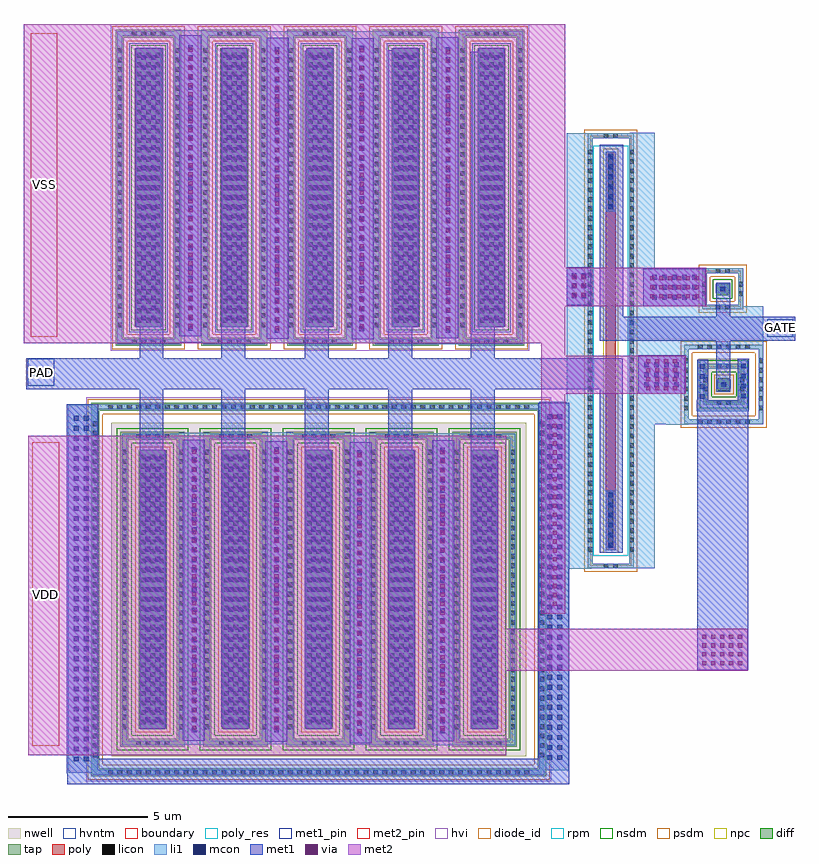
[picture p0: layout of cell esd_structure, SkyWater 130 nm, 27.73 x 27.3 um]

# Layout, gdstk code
import gdstk
lib = gdstk.Library(unit=1e-6, precision=1e-09)
def R(c, l, rs):  # rectangles x0, y0, x1, y1
    for r in rs: c.add(gdstk.rectangle(r[:2], r[2:], *l))
def A(c, l, x, y, w, h, nx, ny, dx, dy):  # array of equal rectangles
    R(c, l, [(x+i*dx, y+j*dy, x+i*dx+w, y+j*dy+h) for i in range(nx) for j in range(ny)])
nwell = (64, 20)
diff = (65, 20)
tap = (65, 44)
poly_res = (66, 13)
poly = (66, 20)
licon = (66, 44)
li1 = (67, 20)
mcon = (67, 44)
met1_pin = (68, 16)
met1 = (68, 20)
via = (68, 44)
met2_pin = (69, 16)
met2 = (69, 20)
hvi = (75, 20)
diode_id = (81, 23)
rpm = (86, 20)
nsdm = (93, 44)
psdm = (94, 20)
npc = (95, 20)
hvntm = (125, 20)
boundary = (235, 4)

sky130_fd_pr__res_high_p = lib.new_cell('sky130_fd_pr__res_high_po_0p35_JFN4DV')
R(sky130_fd_pr__res_high_p, tap, [(-0.825,-7.81,0.825,-7.64), (-0.825,-7.64,-0.655,7.64), (0.655,-7.64,0.825,7.64), (-0.825,7.64,0.825,7.81)])
R(sky130_fd_pr__res_high_p, poly_res, [(-0.175,-5.06,0.175,5.06)])
R(sky130_fd_pr__res_high_p, poly, [(-0.175,-7.16,0.175,7.16)])
A(sky130_fd_pr__res_high_p, licon, -0.825, -7.225, 0.17, 0.17, 1, 43, 0, 0.34)
A(sky130_fd_pr__res_high_p, licon, 0.655, -7.225, 0.17, 0.17, 1, 43, 0, 0.34)
R(sky130_fd_pr__res_high_p, licon, [(-0.255,-7.81,-0.085,-7.64), (0.085,-7.81,0.255,-7.64), (-0.095,-7.08,0.095,-5.08), (-0.095,5.08,0.095,7.08), (-0.255,7.64,-0.085,7.81), (0.085,7.64,0.255,7.81)])
R(sky130_fd_pr__res_high_p, li1, [(-0.825,-7.81,0.825,-7.64), (-0.825,-7.64,-0.655,7.64), (0.655,-7.64,0.825,7.64), (-0.175,-7.16,0.175,-5), (-0.175,5,0.175,7.16), (-0.825,7.64,0.825,7.81)])
A(sky130_fd_pr__res_high_p, mcon, -0.085, -7.065, 0.17, 0.17, 1, 6, 0, 0.36)
A(sky130_fd_pr__res_high_p, mcon, -0.085, 5.09, 0.17, 0.17, 1, 6, 0, 0.36)
R(sky130_fd_pr__res_high_p, met1, [(-0.125,-7.13,0.125,-5.025), (-0.125,5.025,0.125,7.13)])
R(sky130_fd_pr__res_high_p, rpm, [(-0.635,-7.36,0.635,7.36)])
R(sky130_fd_pr__res_high_p, psdm, [(-0.95,-7.935,0.95,7.935)])
R(sky130_fd_pr__res_high_p, npc, [(-0.27,-7.255,0.27,7.255)])
R(sky130_fd_pr__res_high_p, boundary, [(-0.74,-7.725,0.74,7.725)])

sky130_fd_pr__diode_pw2n = lib.new_cell('sky130_fd_pr__diode_pw2nd_11v0_2UARL4')
A(sky130_fd_pr__diode_pw2n, diff, -6.66, -5, 1, 10, 5, 1, 3.08, 0)
A(sky130_fd_pr__diode_pw2n, tap, -7.34, -5.68, 2.36, 0.29, 5, 2, 3.08, 11.07)
R(sky130_fd_pr__diode_pw2n, tap, [(-7.34,-5.39,-7.05,5.39), (-5.27,-5.39,-4.98,5.39), (-4.26,-5.39,-3.97,5.39), (-2.19,-5.39,-1.9,5.39), (-1.18,-5.39,-0.89,5.39), (0.89,-5.39,1.18,5.39), (1.9,-5.39,2.19,5.39), (3.97,-5.39,4.26,5.39), (4.98,-5.39,5.27,5.39), (7.05,-5.39,7.34,5.39)])
A(sky130_fd_pr__diode_pw2n, licon, -6.755, -5.62, 0.17, 0.17, 4, 2, 0.34, 11.07)
A(sky130_fd_pr__diode_pw2n, licon, -3.675, -5.62, 0.17, 0.17, 4, 2, 0.34, 11.07)
A(sky130_fd_pr__diode_pw2n, licon, -0.595, -5.62, 0.17, 0.17, 4, 2, 0.34, 11.07)
A(sky130_fd_pr__diode_pw2n, licon, 2.485, -5.62, 0.17, 0.17, 4, 2, 0.34, 11.07)
A(sky130_fd_pr__diode_pw2n, licon, 5.565, -5.62, 0.17, 0.17, 4, 2, 0.34, 11.07)
A(sky130_fd_pr__diode_pw2n, licon, -7.28, -5.015, 0.17, 0.17, 1, 30, 0, 0.34)
A(sky130_fd_pr__diode_pw2n, licon, -5.21, -5.015, 0.17, 0.17, 1, 30, 0, 0.34)
A(sky130_fd_pr__diode_pw2n, licon, -4.2, -5.015, 0.17, 0.17, 1, 30, 0, 0.34)
A(sky130_fd_pr__diode_pw2n, licon, -2.13, -5.015, 0.17, 0.17, 1, 30, 0, 0.34)
A(sky130_fd_pr__diode_pw2n, licon, -1.12, -5.015, 0.17, 0.17, 1, 30, 0, 0.34)
A(sky130_fd_pr__diode_pw2n, licon, 0.95, -5.015, 0.17, 0.17, 1, 30, 0, 0.34)
A(sky130_fd_pr__diode_pw2n, licon, 1.96, -5.015, 0.17, 0.17, 1, 30, 0, 0.34)
A(sky130_fd_pr__diode_pw2n, licon, 4.03, -5.015, 0.17, 0.17, 1, 30, 0, 0.34)
A(sky130_fd_pr__diode_pw2n, licon, 5.04, -5.015, 0.17, 0.17, 1, 30, 0, 0.34)
A(sky130_fd_pr__diode_pw2n, licon, 7.11, -5.015, 0.17, 0.17, 1, 30, 0, 0.34)
A(sky130_fd_pr__diode_pw2n, licon, -6.585, -4.845, 0.17, 0.17, 3, 29, 0.34, 0.34)
A(sky130_fd_pr__diode_pw2n, licon, -3.505, -4.845, 0.17, 0.17, 3, 29, 0.34, 0.34)
A(sky130_fd_pr__diode_pw2n, licon, -0.425, -4.845, 0.17, 0.17, 3, 29, 0.34, 0.34)
A(sky130_fd_pr__diode_pw2n, licon, 2.655, -4.845, 0.17, 0.17, 3, 29, 0.34, 0.34)
A(sky130_fd_pr__diode_pw2n, licon, 5.735, -4.845, 0.17, 0.17, 3, 29, 0.34, 0.34)
A(sky130_fd_pr__diode_pw2n, li1, -7.28, -5.62, 2.24, 0.17, 5, 2, 3.08, 11.07)
A(sky130_fd_pr__diode_pw2n, li1, -6.6, -5.02, 0.88, 10.04, 5, 1, 3.08, 0)
R(sky130_fd_pr__diode_pw2n, li1, [(-7.28,-5.45,-7.11,5.45), (-5.21,-5.45,-5.04,5.45), (-4.2,-5.45,-4.03,5.45), (-2.13,-5.45,-1.96,5.45), (-1.12,-5.45,-0.95,5.45), (0.95,-5.45,1.12,5.45), (1.96,-5.45,2.13,5.45), (4.03,-5.45,4.2,5.45), (5.04,-5.45,5.21,5.45), (7.11,-5.45,7.28,5.45)])
A(sky130_fd_pr__diode_pw2n, mcon, -6.425, -4.765, 0.17, 0.17, 1, 27, 0, 0.36)
A(sky130_fd_pr__diode_pw2n, mcon, -6.065, -4.765, 0.17, 0.17, 1, 27, 0, 0.36)
A(sky130_fd_pr__diode_pw2n, mcon, -3.345, -4.765, 0.17, 0.17, 1, 27, 0, 0.36)
A(sky130_fd_pr__diode_pw2n, mcon, -2.985, -4.765, 0.17, 0.17, 1, 27, 0, 0.36)
A(sky130_fd_pr__diode_pw2n, mcon, -0.265, -4.765, 0.17, 0.17, 1, 27, 0, 0.36)
A(sky130_fd_pr__diode_pw2n, mcon, 0.095, -4.765, 0.17, 0.17, 1, 27, 0, 0.36)
A(sky130_fd_pr__diode_pw2n, mcon, 2.815, -4.765, 0.17, 0.17, 1, 27, 0, 0.36)
A(sky130_fd_pr__diode_pw2n, mcon, 3.175, -4.765, 0.17, 0.17, 1, 27, 0, 0.36)
A(sky130_fd_pr__diode_pw2n, mcon, 5.895, -4.765, 0.17, 0.17, 1, 27, 0, 0.36)
A(sky130_fd_pr__diode_pw2n, mcon, 6.255, -4.765, 0.17, 0.17, 1, 27, 0, 0.36)
A(sky130_fd_pr__diode_pw2n, met1, -6.63, -5, 0.94, 10, 5, 1, 3.08, 0)
R(sky130_fd_pr__diode_pw2n, hvi, [(-7.525,-5.865,7.525,5.865)])
A(sky130_fd_pr__diode_pw2n, diode_id, -6.66, -5, 1, 10, 5, 1, 3.08, 0)
A(sky130_fd_pr__diode_pw2n, nsdm, -6.785, -5.125, 1.25, 10.25, 5, 1, 3.08, 0)
A(sky130_fd_pr__diode_pw2n, psdm, -7.465, -5.805, 2.61, 0.54, 5, 2, 3.08, 11.07)
R(sky130_fd_pr__diode_pw2n, psdm, [(-7.465,-5.265,-6.925,5.265), (-5.395,-5.265,-4.855,5.265), (-4.385,-5.265,-3.845,5.265), (-2.315,-5.265,-1.775,5.265), (-1.305,-5.265,-0.765,5.265), (0.765,-5.265,1.305,5.265), (1.775,-5.265,2.315,5.265), (3.845,-5.265,4.385,5.265), (4.855,-5.265,5.395,5.265), (6.925,-5.265,7.465,5.265)])
A(sky130_fd_pr__diode_pw2n, hvntm, -6.845, -5.185, 1.37, 10.37, 5, 1, 3.08, 0)
R(sky130_fd_pr__diode_pw2n, boundary, [(5.12,-5.53,7.19,5.53)])

c_sky130_fd_pr__diode_pw2n = lib.new_cell('sky130_fd_pr__diode_pw2nd_05v5_FT76RJ')
R(c_sky130_fd_pr__diode_pw2n, diff, [(-0.225,-0.225,0.225,0.225)])
R(c_sky130_fd_pr__diode_pw2n, tap, [(-0.735,-0.735,0.735,-0.565), (-0.735,-0.565,-0.565,0.565), (0.565,-0.565,0.735,0.565), (-0.735,0.565,0.735,0.735)])
R(c_sky130_fd_pr__diode_pw2n, licon, [(-0.255,-0.735,-0.085,-0.565), (0.085,-0.735,0.255,-0.565), (-0.735,-0.255,-0.565,-0.085), (0.565,-0.255,0.735,-0.085), (-0.085,-0.085,0.085,0.085), (-0.735,0.085,-0.565,0.255), (0.565,0.085,0.735,0.255), (-0.255,0.565,-0.085,0.735), (0.085,0.565,0.255,0.735)])
R(c_sky130_fd_pr__diode_pw2n, li1, [(-0.735,-0.735,0.735,-0.565), (-0.735,-0.565,-0.565,0.565), (0.565,-0.565,0.735,0.565), (-0.245,-0.165,0.245,0.165), (-0.735,0.565,0.735,0.735)])
R(c_sky130_fd_pr__diode_pw2n, mcon, [(-0.085,-0.085,0.085,0.085)])
R(c_sky130_fd_pr__diode_pw2n, met1, [(-0.225,-0.195,0.225,0.195)])
R(c_sky130_fd_pr__diode_pw2n, diode_id, [(-0.225,-0.225,0.225,0.225)])
R(c_sky130_fd_pr__diode_pw2n, nsdm, [(-0.35,-0.35,0.35,0.35)])
R(c_sky130_fd_pr__diode_pw2n, psdm, [(-0.86,-0.86,0.86,-0.44), (-0.86,-0.44,-0.44,0.44), (0.44,-0.44,0.86,0.44), (-0.86,0.44,0.86,0.86)])
R(c_sky130_fd_pr__diode_pw2n, boundary, [(-0.65,-0.65,0.65,0.65)])

sky130_fd_pr__diode_pd2n = lib.new_cell('sky130_fd_pr__diode_pd2nw_11v0_PWJNKD')
R(sky130_fd_pr__diode_pd2n, nwell, [(-7.45,-5.99,7.45,5.99)])
A(sky130_fd_pr__diode_pd2n, diff, -6.46, -5, 1, 10, 5, 1, 2.98, 0)
A(sky130_fd_pr__diode_pd2n, tap, -7.12, -5.66, 2.32, 0.29, 5, 2, 2.98, 11.03)
R(sky130_fd_pr__diode_pd2n, tap, [(-8.17,-6.71,8.17,-6.42), (-8.17,-6.42,-7.88,6.42), (7.88,-6.42,8.17,6.42), (-7.12,-5.37,-6.83,5.37), (-5.09,-5.37,-4.8,5.37), (-4.14,-5.37,-3.85,5.37), (-2.11,-5.37,-1.82,5.37), (-1.16,-5.37,-0.87,5.37), (0.87,-5.37,1.16,5.37), (1.82,-5.37,2.11,5.37), (3.85,-5.37,4.14,5.37), (4.8,-5.37,5.09,5.37), (6.83,-5.37,7.12,5.37), (-8.17,6.42,8.17,6.71)])
A(sky130_fd_pr__diode_pd2n, licon, -7.565, -6.65, 0.17, 0.17, 45, 2, 0.34, 13.13)
A(sky130_fd_pr__diode_pd2n, licon, -8.11, -6.035, 0.17, 0.17, 1, 36, 0, 0.34)
A(sky130_fd_pr__diode_pd2n, licon, 7.94, -6.035, 0.17, 0.17, 1, 36, 0, 0.34)
A(sky130_fd_pr__diode_pd2n, licon, -6.555, -5.6, 0.17, 0.17, 4, 2, 0.34, 11.03)
A(sky130_fd_pr__diode_pd2n, licon, -3.575, -5.6, 0.17, 0.17, 4, 2, 0.34, 11.03)
A(sky130_fd_pr__diode_pd2n, licon, -0.595, -5.6, 0.17, 0.17, 4, 2, 0.34, 11.03)
A(sky130_fd_pr__diode_pd2n, licon, 2.385, -5.6, 0.17, 0.17, 4, 2, 0.34, 11.03)
A(sky130_fd_pr__diode_pd2n, licon, 5.365, -5.6, 0.17, 0.17, 4, 2, 0.34, 11.03)
A(sky130_fd_pr__diode_pd2n, licon, -7.06, -5.015, 0.17, 0.17, 1, 30, 0, 0.34)
A(sky130_fd_pr__diode_pd2n, licon, -5.03, -5.015, 0.17, 0.17, 1, 30, 0, 0.34)
A(sky130_fd_pr__diode_pd2n, licon, -4.08, -5.015, 0.17, 0.17, 1, 30, 0, 0.34)
A(sky130_fd_pr__diode_pd2n, licon, -2.05, -5.015, 0.17, 0.17, 1, 30, 0, 0.34)
A(sky130_fd_pr__diode_pd2n, licon, -1.1, -5.015, 0.17, 0.17, 1, 30, 0, 0.34)
A(sky130_fd_pr__diode_pd2n, licon, 0.93, -5.015, 0.17, 0.17, 1, 30, 0, 0.34)
A(sky130_fd_pr__diode_pd2n, licon, 1.88, -5.015, 0.17, 0.17, 1, 30, 0, 0.34)
A(sky130_fd_pr__diode_pd2n, licon, 3.91, -5.015, 0.17, 0.17, 1, 30, 0, 0.34)
A(sky130_fd_pr__diode_pd2n, licon, 4.86, -5.015, 0.17, 0.17, 1, 30, 0, 0.34)
A(sky130_fd_pr__diode_pd2n, licon, 6.89, -5.015, 0.17, 0.17, 1, 30, 0, 0.34)
A(sky130_fd_pr__diode_pd2n, licon, -6.385, -4.845, 0.17, 0.17, 3, 29, 0.34, 0.34)
A(sky130_fd_pr__diode_pd2n, licon, -3.405, -4.845, 0.17, 0.17, 3, 29, 0.34, 0.34)
A(sky130_fd_pr__diode_pd2n, licon, -0.425, -4.845, 0.17, 0.17, 3, 29, 0.34, 0.34)
A(sky130_fd_pr__diode_pd2n, licon, 2.555, -4.845, 0.17, 0.17, 3, 29, 0.34, 0.34)
A(sky130_fd_pr__diode_pd2n, licon, 5.535, -4.845, 0.17, 0.17, 3, 29, 0.34, 0.34)
A(sky130_fd_pr__diode_pd2n, li1, -7.06, -5.6, 2.2, 0.17, 5, 2, 2.98, 11.03)
A(sky130_fd_pr__diode_pd2n, li1, -6.4, -5.02, 0.88, 10.04, 5, 1, 2.98, 0)
R(sky130_fd_pr__diode_pd2n, li1, [(-8.11,-6.65,8.11,-6.48), (-8.11,-6.48,-7.94,6.48), (7.94,-6.48,8.11,6.48), (-7.06,-5.43,-6.89,5.43), (-5.03,-5.43,-4.86,5.43), (-4.08,-5.43,-3.91,5.43), (-2.05,-5.43,-1.88,5.43), (-1.1,-5.43,-0.93,5.43), (0.93,-5.43,1.1,5.43), (1.88,-5.43,2.05,5.43), (3.91,-5.43,4.08,5.43), (4.86,-5.43,5.03,5.43), (6.89,-5.43,7.06,5.43), (-8.11,6.48,8.11,6.65)])
A(sky130_fd_pr__diode_pd2n, mcon, -6.225, -4.765, 0.17, 0.17, 1, 27, 0, 0.36)
A(sky130_fd_pr__diode_pd2n, mcon, -5.865, -4.765, 0.17, 0.17, 1, 27, 0, 0.36)
A(sky130_fd_pr__diode_pd2n, mcon, -3.245, -4.765, 0.17, 0.17, 1, 27, 0, 0.36)
A(sky130_fd_pr__diode_pd2n, mcon, -2.885, -4.765, 0.17, 0.17, 1, 27, 0, 0.36)
A(sky130_fd_pr__diode_pd2n, mcon, -0.265, -4.765, 0.17, 0.17, 1, 27, 0, 0.36)
A(sky130_fd_pr__diode_pd2n, mcon, 0.095, -4.765, 0.17, 0.17, 1, 27, 0, 0.36)
A(sky130_fd_pr__diode_pd2n, mcon, 2.715, -4.765, 0.17, 0.17, 1, 27, 0, 0.36)
A(sky130_fd_pr__diode_pd2n, mcon, 3.075, -4.765, 0.17, 0.17, 1, 27, 0, 0.36)
A(sky130_fd_pr__diode_pd2n, mcon, 5.695, -4.765, 0.17, 0.17, 1, 27, 0, 0.36)
A(sky130_fd_pr__diode_pd2n, mcon, 6.055, -4.765, 0.17, 0.17, 1, 27, 0, 0.36)
A(sky130_fd_pr__diode_pd2n, met1, -6.43, -5, 0.94, 10, 5, 1, 2.98, 0)
R(sky130_fd_pr__diode_pd2n, hvi, [(-8.355,-6.895,8.355,6.895)])
A(sky130_fd_pr__diode_pd2n, diode_id, -6.46, -5, 1, 10, 5, 1, 2.98, 0)
A(sky130_fd_pr__diode_pd2n, nsdm, -7.245, -5.785, 2.57, 0.54, 5, 2, 2.98, 11.03)
R(sky130_fd_pr__diode_pd2n, nsdm, [(-7.245,-5.245,-6.705,5.245), (-5.215,-5.245,-4.675,5.245), (-4.265,-5.245,-3.725,5.245), (-2.235,-5.245,-1.695,5.245), (-1.285,-5.245,-0.745,5.245), (0.745,-5.245,1.285,5.245), (1.695,-5.245,2.235,5.245), (3.725,-5.245,4.265,5.245), (4.675,-5.245,5.215,5.245), (6.705,-5.245,7.245,5.245)])
A(sky130_fd_pr__diode_pd2n, psdm, -6.585, -5.125, 1.25, 10.25, 5, 1, 2.98, 0)
R(sky130_fd_pr__diode_pd2n, psdm, [(-8.295,-6.835,8.295,-6.295), (-8.295,-6.295,-7.755,6.295), (7.755,-6.295,8.295,6.295), (-8.295,6.295,8.295,6.835)])
R(sky130_fd_pr__diode_pd2n, boundary, [(4.94,-5.51,6.97,5.51)])

c_sky130_fd_pr__diode_pd2n = lib.new_cell('sky130_fd_pr__diode_pd2nw_05v5_K4SERG')
R(c_sky130_fd_pr__diode_pd2n, nwell, [(-0.915,-0.915,0.915,0.915)])
R(c_sky130_fd_pr__diode_pd2n, diff, [(-0.225,-0.225,0.225,0.225)])
R(c_sky130_fd_pr__diode_pd2n, tap, [(-1.425,-1.425,1.425,-1.255), (-1.425,-1.255,-1.255,1.255), (1.255,-1.255,1.425,1.255), (-0.735,-0.735,0.735,-0.565), (-0.735,-0.565,-0.565,0.565), (0.565,-0.565,0.735,0.565), (-0.735,0.565,0.735,0.735), (-1.425,1.255,1.425,1.425)])
A(c_sky130_fd_pr__diode_pd2n, licon, -0.935, -1.425, 0.17, 0.17, 6, 2, 0.34, 2.68)
A(c_sky130_fd_pr__diode_pd2n, licon, -1.425, -0.935, 0.17, 0.17, 1, 6, 0, 0.34)
A(c_sky130_fd_pr__diode_pd2n, licon, 1.255, -0.935, 0.17, 0.17, 1, 6, 0, 0.34)
R(c_sky130_fd_pr__diode_pd2n, licon, [(-0.255,-0.735,-0.085,-0.565), (0.085,-0.735,0.255,-0.565), (-0.735,-0.255,-0.565,-0.085), (0.565,-0.255,0.735,-0.085), (-0.085,-0.085,0.085,0.085), (-0.735,0.085,-0.565,0.255), (0.565,0.085,0.735,0.255), (-0.255,0.565,-0.085,0.735), (0.085,0.565,0.255,0.735)])
R(c_sky130_fd_pr__diode_pd2n, li1, [(-1.425,-1.425,1.425,-1.255), (-1.425,-1.255,-1.255,1.255), (1.255,-1.255,1.425,1.255), (-0.735,-0.735,0.735,-0.565), (-0.735,-0.565,-0.565,0.565), (0.565,-0.565,0.735,0.565), (-0.245,-0.165,0.245,0.165), (-0.735,0.565,0.735,0.735), (-1.425,1.255,1.425,1.425)])
R(c_sky130_fd_pr__diode_pd2n, mcon, [(-0.085,-0.085,0.085,0.085)])
R(c_sky130_fd_pr__diode_pd2n, met1, [(-0.225,-0.195,0.225,0.195)])
R(c_sky130_fd_pr__diode_pd2n, diode_id, [(-0.225,-0.225,0.225,0.225)])
R(c_sky130_fd_pr__diode_pd2n, nsdm, [(-0.86,-0.86,0.86,-0.44), (-0.86,-0.44,-0.44,0.44), (0.44,-0.44,0.86,0.44), (-0.86,0.44,0.86,0.86)])
R(c_sky130_fd_pr__diode_pd2n, psdm, [(-1.55,-1.55,1.55,-1.13), (-1.55,-1.13,-1.13,1.13), (1.13,-1.13,1.55,1.13), (-0.35,-0.35,0.35,0.35), (-1.55,1.13,1.55,1.55)])
R(c_sky130_fd_pr__diode_pd2n, boundary, [(-0.65,-0.65,0.65,0.65)])

esd_structure = lib.new_cell('esd_structure')
R(esd_structure, li1, [(-22.86,-13.83,-21.8,-0.6), (-5.93,-13.73,-4.87,-6.49), (-9.92,-12.84,-8.81,-1.63), (-18.88,-12.82,-17.77,-1.61), (-12.92,-12.82,-11.81,-1.61), (-15.88,-12.8,-14.77,-1.59), (-5.93,-6.49,-4.07,-0.5), (-2.67,-6.48,-1.79,-1.3), (-1.38,-1.32,-0.59,-1.3), (-2.67,-1.3,-0.59,1.47), (-0.27,-0.84,1.59,-0.44), (-4.95,-0.5,-4.07,9.15), (-0.26,-0.44,0.13,1.01), (1.2,-0.44,1.59,1.04), (-2.67,1.47,2.12,2.94), (-9.79,1.56,-8.68,12.77), (-15.88,1.6,-14.77,12.81), (-12.82,1.6,-11.71,12.81), (-19.02,1.64,-17.91,12.85), (-2.67,2.94,-0.03,4.3), (-2.67,4.3,-0.67,4.31), (-2.67,4.31,-1.79,9.16)])
A(esd_structure, mcon, -22.65, -13.42, 0.17, 0.17, 1, 35, 0, 0.36)
A(esd_structure, mcon, -22.29, -13.42, 0.17, 0.17, 1, 35, 0, 0.36)
A(esd_structure, mcon, -5.64, -13.36, 0.17, 0.17, 1, 35, 0, 0.36)
A(esd_structure, mcon, -5.28, -13.36, 0.17, 0.17, 1, 35, 0, 0.36)
A(esd_structure, mcon, -12.475, -12.5, 0.17, 0.17, 1, 29, 0, 0.36)
A(esd_structure, mcon, -9.495, -12.4, 0.17, 0.17, 1, 29, 0, 0.36)
A(esd_structure, mcon, -18.415, -12.38, 0.17, 0.17, 1, 29, 0, 0.36)
A(esd_structure, mcon, -15.455, -12.38, 0.17, 0.17, 1, 29, 0, 0.36)
A(esd_structure, mcon, -0.16, -0.4, 0.17, 0.17, 1, 4, 0, 0.36)
A(esd_structure, mcon, 1.32, -0.38, 0.17, 0.17, 1, 4, 0, 0.36)
A(esd_structure, mcon, -2.165, 0.025, 0.17, 0.17, 4, 3, 0.36, 0.36)
A(esd_structure, mcon, -15.435, 1.98, 0.17, 0.17, 1, 29, 0, 0.36)
A(esd_structure, mcon, -9.295, 1.98, 0.17, 0.17, 1, 29, 0, 0.36)
A(esd_structure, mcon, -12.395, 2.04, 0.17, 0.17, 1, 29, 0, 0.36)
A(esd_structure, mcon, -18.545, 2.06, 0.17, 0.17, 1, 29, 0, 0.36)
A(esd_structure, mcon, -1.88, 3.17, 0.17, 0.17, 5, 3, 0.36, 0.36)
A(esd_structure, mcon, -4.775, 3.22, 0.17, 0.17, 1, 3, 0, 0.36)
A(esd_structure, mcon, -4.415, 3.22, 0.17, 0.17, 1, 3, 0, 0.36)
R(esd_structure, met1_pin, [(-24.31,0.08,-23.35,1.04), (2.26,1.84,3.19,2.47)])
R(esd_structure, met1, [(-22.89,-14.23,-4.86,-13.85), (-22.9,-13.85,-4.86,-13.33), (-22.9,-13.33,-21.78,-0.58), (-5.97,-13.33,-4.86,-12.26), (-12.74,-12.76,-11.95,-1.95), (-15.78,-12.72,-14.99,-1.91), (-9.77,-12.7,-8.98,-1.89), (-18.74,-12.68,-17.95,-1.87), (-5.97,-12.26,-4.85,-0.54), (-8.39,-12.22,-7.54,-0.05), (-17.35,-12.18,-16.5,-0.05), (-14.35,-12.18,-13.5,-0.05), (-11.35,-12.16,-10.5,-0.05), (-20.29,-12.1,-19.44,-0.05), (-0.26,-10.14,1.58,-0.84), (-3.77,-5.92,-2.93,-0.05), (-0.27,-0.84,1.59,-0.44), (-0.26,-0.44,0.13,1.01), (1.2,-0.44,1.59,1.04), (-2.38,-0.22,-0.69,1.17), (0.43,-0.14,0.93,1.7), (-24.37,-0.05,-2.93,1.05), (-24.37,1.05,-2.99,1.07), (-20.29,1.07,-19.44,12.19), (-17.35,1.07,-16.5,12.11), (-14.35,1.07,-13.5,12.11), (-11.35,1.07,-10.5,12.13), (-8.39,1.07,-7.54,12.07), (-3.77,1.7,3.27,2.56), (-12.67,1.74,-11.88,12.55), (-15.72,1.76,-14.93,12.57), (-9.63,1.78,-8.84,12.59), (-18.86,1.86,-18.07,12.67), (-3.77,2.56,-2.91,8.74), (0.43,2.56,0.93,3.78), (-2.19,2.94,0.05,4.28), (-4.95,2.96,-4.06,4.34)])
A(esd_structure, via, -12.465, -12.41, 0.15, 0.15, 1, 32, 0, 0.32)
A(esd_structure, via, -9.485, -12.31, 0.15, 0.15, 1, 32, 0, 0.32)
A(esd_structure, via, -18.405, -12.29, 0.15, 0.15, 1, 32, 0, 0.32)
A(esd_structure, via, -15.445, -12.29, 0.15, 0.15, 1, 32, 0, 0.32)
A(esd_structure, via, -0.08, -9.97, 0.15, 0.15, 5, 4, 0.32, 0.32)
A(esd_structure, via, -5.45, -7.835, 0.15, 0.15, 1, 22, 0, 0.32)
A(esd_structure, via, -2.095, -0.085, 0.15, 0.15, 4, 4, 0.32, 0.32)
A(esd_structure, via, -15.425, 2.07, 0.15, 0.15, 1, 32, 0, 0.32)
A(esd_structure, via, -9.285, 2.07, 0.15, 0.15, 1, 32, 0, 0.32)
A(esd_structure, via, -12.385, 2.13, 0.15, 0.15, 1, 32, 0, 0.32)
A(esd_structure, via, -18.535, 2.15, 0.15, 0.15, 1, 32, 0, 0.32)
A(esd_structure, via, -1.95, 3.22, 0.15, 0.15, 6, 3, 0.32, 0.32)
A(esd_structure, via, -4.745, 3.27, 0.15, 0.15, 1, 3, 0, 0.32)
A(esd_structure, via, -4.425, 3.27, 0.15, 0.15, 1, 3, 0, 0.32)
R(esd_structure, met2_pin, [(-24.14,-12.86,-23.18,-1.96), (-24.2,1.84,-23.24,12.74)])
R(esd_structure, met2, [(-24.29,-13.19,-7.12,-10.17), (-24.29,-10.17,1.56,-8.65), (-24.29,-8.65,-7.12,-1.72), (-5.87,-8.12,-5,-0.22), (-5.87,-0.22,-0.68,1.16), (-5.87,1.16,-5,1.6), (-24.46,1.6,-5,2.94), (-24.46,2.94,0.06,4.32), (-24.46,4.32,-5,13.07)])
esd_structure.add(gdstk.Reference(sky130_fd_pr__res_high_p, (-3.365,1.33)))
esd_structure.add(gdstk.Reference(sky130_fd_pr__diode_pw2n, (-13.81,7.19)))
esd_structure.add(gdstk.Reference(c_sky130_fd_pr__diode_pw2n, (0.655,3.555)))
esd_structure.add(gdstk.Reference(sky130_fd_pr__diode_pd2n, (-13.86,-7.24)))
esd_structure.add(gdstk.Reference(c_sky130_fd_pr__diode_pd2n, (0.695,0.125)))
esd_structure.add(gdstk.Label('VDD', (-23.66,-7.41), layer=69, texttype=5))
esd_structure.add(gdstk.Label('VSS', (-23.72,7.29), layer=69, texttype=5))
esd_structure.add(gdstk.Label('PAD', (-23.83,0.56), layer=68, texttype=5))
esd_structure.add(gdstk.Label('GATE', (2.725,2.155), layer=68, texttype=5))

lib.write_gds('esd_structure.gds')
